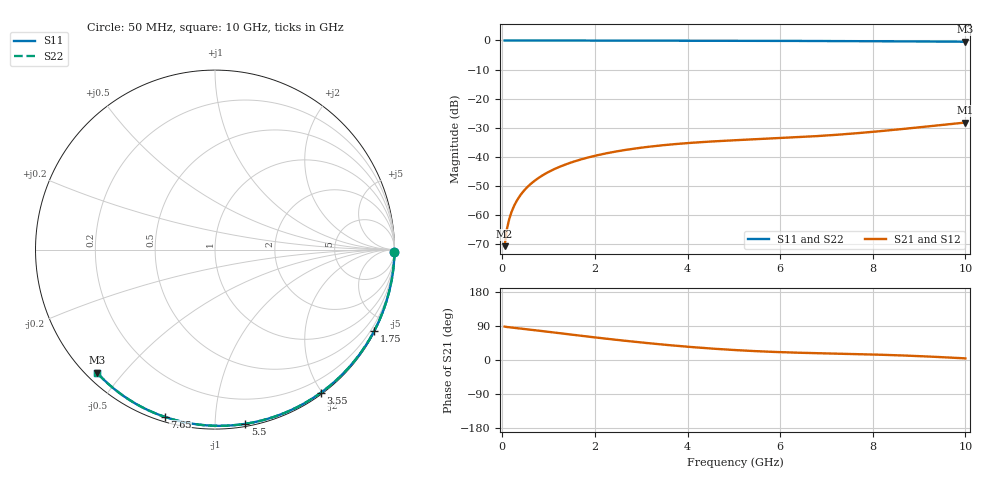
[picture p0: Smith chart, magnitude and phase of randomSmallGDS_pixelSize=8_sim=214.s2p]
! freq	dB(S11)	phase(S11)	dB(S12)	phase(S12)
!  dB(S21)	phase(S21)	dB(S22)	phase(S22)
!S-par simulation data
#  GHz  S  DB  R 50
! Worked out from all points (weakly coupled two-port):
!   200 points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, 50 MHz to 10 GHz, reference 50 ohm
!   highest |S21| = -28.23 dB at 10 GHz (marker M1); lowest = -70.8 dB at 50 MHz (marker M2)
!   lowest |S11| = -0.4 dB at 10 GHz (marker M3), VSWR 39.22, Z = 1.51 - j21.3 ohm
!   |S11| at or under -10 dB: nowhere
!   |S22| runs from -0.4 to 0.0 dB; largest |S21 - S12| = 0
!   S11 on the Smith chart (normalised r, x): 50 MHz: open; 1.75 GHz: 0.04, -4.15; 3.55 GHz: 0.02, -1.98; 5.5 GHz: 0.02, -1.19; 7.65 GHz: 0.02, -0.74; 10 GHz: 0.03, -0.43
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0.05  -0.00 -0.8  -70.77 88.2  -70.77 88.2  -0.00 -0.8
0.1  -0.00 -1.6  -64.87 87.1  -64.87 87.1  -0.00 -1.6
0.15  -0.00 -2.4  -61.43 86.4  -61.43 86.4  -0.00 -2.4
0.2  -0.00 -3.1  -58.97 85.8  -58.97 85.8  -0.00 -3.1
0.25  -0.00 -3.9  -57.07 85.2  -57.07 85.2  -0.00 -3.9
0.35  -0.00 -5.5  -54.18 83.8  -54.18 83.8  -0.00 -5.5
0.5  -0.01 -7.9  -51.12 81.7  -51.12 81.7  -0.01 -7.9
0.7  -0.01 -11.0  -48.24 78.7  -48.24 78.7  -0.01 -11.0
1  -0.02 -15.6  -45.23 74.3  -45.23 74.3  -0.02 -15.6
1.35  -0.03 -21.0  -42.75 69.0  -42.75 69.0  -0.03 -21.0
1.75  -0.03 -27.1  -40.69 63.2  -40.69 63.2  -0.03 -27.1
2.5  -0.05 -38.3  -38.08 52.7  -38.08 52.7  -0.05 -38.3
3.4  -0.07 -51.4  -36.15 41.5  -36.15 41.5  -0.07 -51.4
3.55  -0.07 -53.6  -35.92 39.8  -35.92 39.8  -0.07 -53.6
4.3  -0.09 -64.1  -34.98 32.1  -34.98 32.1  -0.09 -64.1
5.05  -0.11 -74.2  -34.31 26.1  -34.31 26.1  -0.11 -74.2
5.5  -0.13 -80.1  -33.97 23.2  -33.97 23.2  -0.13 -80.1
6.7  -0.18 -95.3  -33.00 18.2  -33.00 18.2  -0.18 -95.3
7.65  -0.24 -106.8  -31.92 15.6  -31.92 15.6  -0.24 -106.8
8.35  -0.29 -115.0  -30.92 13.2  -30.92 13.2  -0.29 -115.0
9.2  -0.36 -124.8  -29.56 9.2  -29.56 9.2  -0.36 -124.8
10  -0.44 -133.8  -28.23 4.3  -28.23 4.3  -0.44 -133.8
